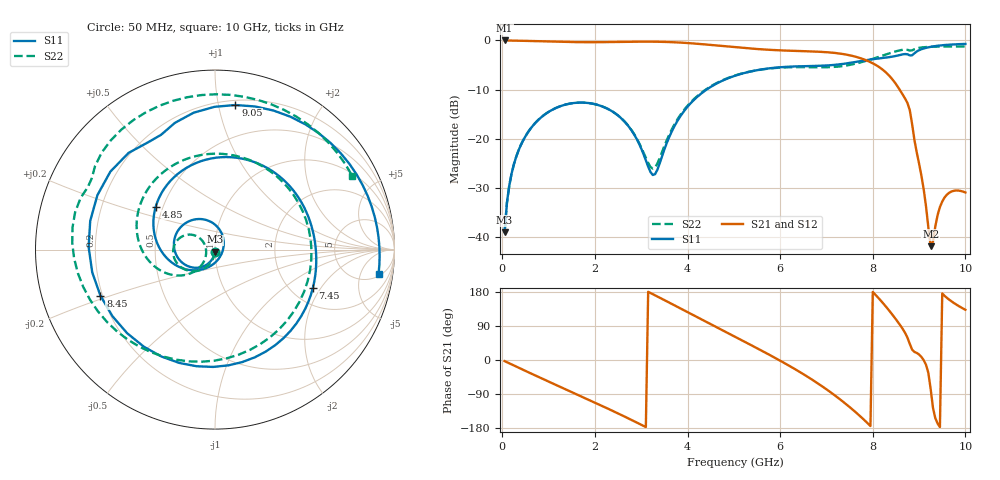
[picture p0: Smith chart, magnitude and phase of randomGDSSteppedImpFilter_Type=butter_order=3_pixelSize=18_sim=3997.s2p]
! freq	dB(S11)	phase(S11)	dB(S12)	phase(S12)
!  dB(S21)	phase(S21)	dB(S22)	phase(S22)
!S-par simulation data
#  GHz  S  DB  R 50
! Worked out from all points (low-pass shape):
!   200 points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, 50 MHz to 10 GHz, reference 50 ohm
!   highest |S21| = -0.01 dB at 50 MHz (marker M1); lowest = -41.8 dB at 9.25 GHz (marker M2)
!   |S21| within 3 dB of the highest: start of sweep to 7.494 GHz
!   lowest |S11| = -39.0 dB at 50 MHz (marker M3), VSWR 1.02, Z = 49.9 - j1.13 ohm
!   |S11| at or under -10 dB: start of sweep to 4.41 GHz
!   |S22| runs from -39.0 to -1.2 dB; largest |S21 - S12| = 0
!   S11 on the Smith chart (normalised r, x): 50 MHz: 1.00, -0.02; 4.85 GHz: 0.46, +0.26; 7.45 GHz: 2.61, -1.69; 8.45 GHz: 0.19, -0.19; 9.05 GHz: 0.24, +1.12; 10 GHz: 6, -10
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0.05  -38.96 -92.1  -0.01 -2.9  -0.01 -2.9  -38.95 -91.5
0.2  -27.09 -102.7  -0.03 -11.6  -0.03 -11.6  -27.08 -100.3
0.5  -19.48 -122.2  -0.09 -28.8  -0.09 -28.8  -19.47 -116.1
1.15  -13.77 -163.1  -0.27 -65.3  -0.27 -65.3  -13.76 -148.6
1.75  -12.64 158.9  -0.36 -98.6  -0.36 -98.6  -12.63 -177.0
2.7  -17.15 89.9  -0.28 -152.8  -0.28 -152.8  -17.11 145.2
3.25  -27.35 -14.6  -0.25 173.8  -0.25 173.8  -26.06 -176.1
3.4  -24.94 -71.2  -0.27 164.4  -0.27 164.4  -23.89 -144.1
4.15  -11.98 -163.5  -0.63 116.7  -0.63 116.7  -11.82 -145.8
4.85  -7.79 144.0  -1.23 72.3  -1.23 72.3  -7.72 179.1
5.05  -7.10 129.9  -1.40 59.7  -1.40 59.7  -7.05 168.1
5.9  -5.53 73.4  -1.97 4.9  -1.97 4.9  -5.60 115.9
6.7  -5.20 25.0  -2.24 -52.6  -2.24 -52.6  -5.45 49.7
7.45  -4.65 -21.4  -2.92 -119.1  -2.92 -119.1  -5.07 -38.0
7.9  -3.95 -63.5  -4.20 -168.2  -4.20 -168.2  -4.03 -96.7
8.35  -3.41 -136.4  -7.12 131.1  -7.12 131.1  -2.65 -152.1
8.45  -3.25 -158.1  -8.23 115.4  -8.23 115.4  -2.35 -164.2
8.65  -2.83 155.1  -11.06 81.3  -11.06 81.3  -1.90 171.3
9.05  -1.79 82.0  -27.48 8.1  -27.48 8.1  -1.43 127.9
9.25  -1.30 54.1  -41.82 -76.2  -41.82 -76.2  -1.30 105.7
9.55  -0.94 23.5  -31.93 169.5  -31.93 169.5  -1.24 73.9
10  -0.71 -8.4  -30.91 132.5  -30.91 132.5  -1.23 28.2
